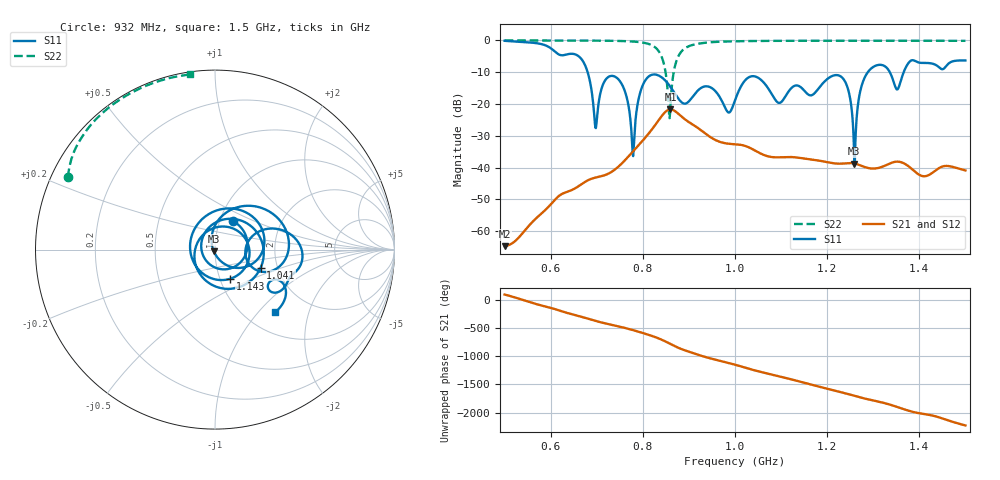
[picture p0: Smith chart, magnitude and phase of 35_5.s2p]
! TOUCHSTONE file generated by CST MICROWAVE STUDIO
! Date and time: Mon Nov 30 08:09:42 2020
! Project name: Scenario_1_Planar_Body_Tissue_Out_of_Line.cst
! Parameters = {dy1=242.2; L_HA=400; Ltissue=700; MT=2.54; Rad_Dielectric=30; Rad_Lower=7.3; Rad_Upper=30; Wtissue=700; a_HA=580; a_WG=246; b_HA=500; b_WG=121; c_HA=0; c_WG=187; d_feed=85; dx1=866; h_feed=15; h_lower=18; h_upper=40; hfat=3; hgap=25; hmuscle=50; hskin=1.5}
! Header version: 2018
! Port assignment regex: !\s*Touchstone port\s*([0-9]+)\s*=\s*(CST MWS port|CST DS port)\s*([0-9]+|Zmin|Zmax)\s*\(\"(.*)\"\)(\s*mode\s*([0-9]+))?.*
! Touchstone port assignment:
! Touchstone port 1 = CST MWS port 1 ("")
! Touchstone port 2 = CST MWS port 2 ("")
# GHz S DB R 50
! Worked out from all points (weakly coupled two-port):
!   1003 points, 500 MHz to 1.5 GHz, reference 50 ohm
!   highest |S21| = -21.69 dB at 860 MHz (marker M1); lowest = -64.7 dB at 500 MHz (marker M2)
!   lowest |S11| = -38.7 dB at 1.259 GHz (marker M3), VSWR 1.02, Z = 49.4 - j0.954 ohm
!   |S11| at or under -10 dB: 680.2 MHz to 1.288 GHz (608 MHz wide, 61.8 % of centre); 1.336 GHz to 1.366 GHz (29.97 MHz wide, 2.22 % of centre)
!   |S22| runs from -24.5 to 0.0 dB; largest |S21 - S12| = 3.7e-06
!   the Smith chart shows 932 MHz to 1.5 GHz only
!   S11 on the Smith chart (normalised r, x): 932 MHz: 1.15, +0.38; 1.041 GHz: 1.64, -0.35; 1.143 GHz: 1.12, -0.38; 1.5 GHz: 1.36, -1.24
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0.5  -0.12 -122.1  -64.69 90.4  -64.69 90.4  -0.01 151.2
0.583  -1.27 -167.3  -54.03 -110.0  -54.03 -110.0  -0.02 145.4
0.667  -5.90 125.1  -45.19 55.7  -45.19 55.7  -0.04 138.4
0.698  -27.57 147.8  -43.10 -18.4  -43.10 -18.4  -0.07 135.1
0.719  -12.37 174.2  -42.28 -61.5  -42.28 -61.5  -0.09 132.5
0.752  -13.18 113.0  -39.00 -122.9  -39.00 -122.9  -0.17 127.1
0.778  -35.81 118.4  -35.01 -178.4  -35.01 -178.4  -0.33 120.9
0.8  -14.02 171.1  -31.44 128.7  -31.44 128.7  -0.67 112.7
0.834  -11.02 77.2  -25.14 34.3  -25.14 34.3  -3.30 83.9
0.86  -14.63 -0.7  -21.69 -67.2  -21.69 -67.2  -20.34 -103.0
0.88  -18.84 -73.7  -23.42 -143.4  -23.42 -143.4  -4.22 -172.0
0.932  -14.54 57.9  -28.88 72.7  -28.88 72.7  -0.79 153.8
1  -18.84 116.2  -32.63 -72.4  -32.63 -72.4  -0.27 140.2
1.041  -11.25 -21.5  -34.43 -169.2  -34.43 -169.2  -0.18 135.4
1.095  -19.64 152.2  -36.75 84.9  -36.75 84.9  -0.13 130.2
1.143  -14.73 -62.1  -36.98 -17.2  -36.98 -17.2  -0.10 126.1
1.167  -17.19 -179.1  -37.46 -68.3  -37.46 -68.3  -0.10 124.2
1.232  -11.60 -3.0  -38.73 156.3  -38.73 156.3  -0.08 119.2
1.259  -38.74 -123.3  -38.67 95.7  -38.67 95.7  -0.09 117.2
1.284  -10.95 58.3  -39.92 42.4  -39.92 42.4  -0.08 115.3
1.334  -9.48 -20.8  -38.82 -54.4  -38.82 -54.4  -0.09 111.5
1.5  -6.29 -46.0  -40.88 -69.1  -40.88 -69.1  -0.13 98.0
